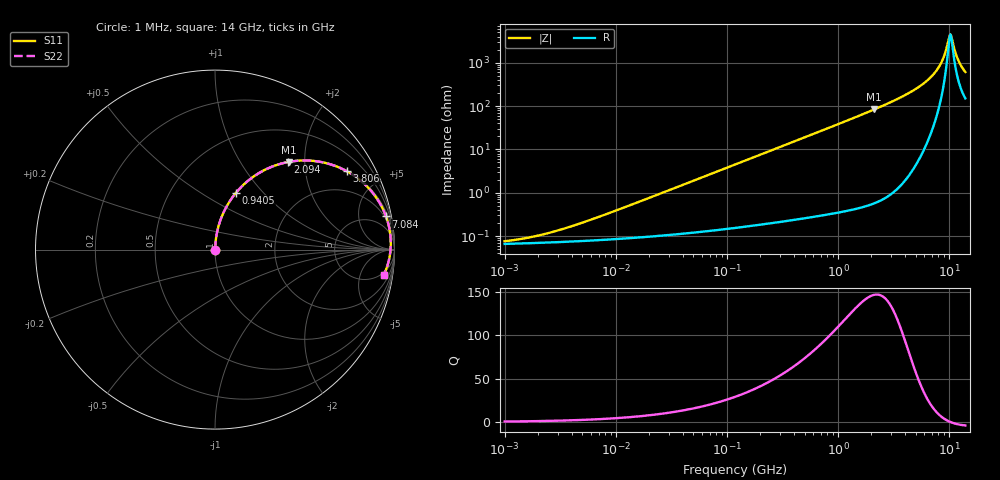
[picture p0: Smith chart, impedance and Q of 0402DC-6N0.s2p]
# MHz  S  MA  R  50
!Freq  MagS11  AngS11  MagS21  AngS21  MagS12  AngS12  MagS22  AngS22
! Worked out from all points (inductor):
!   801 points, 1 MHz to 14 GHz, reference 50 ohm
!   read as one part in series: L = 6 nH near 6.372 MHz
!   highest Q = 147 at 2.119 GHz (marker M1), where L = 6.27 nH
!   self-resonance near 10.26 GHz
!   S11 on the Smith chart (normalised r, x): 1 MHz: 1.00, +0.00; 940.5 MHz: 1.01, +0.72; 2.094 GHz: 1.01, +1.65; 3.806 GHz: 1.03, +3.33; 7.084 GHz: 2, +10; 14 GHz: 4, -12
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1  0.0007587 29.8  0.9993 -0.0  0.9993 -0.0  0.0007587 29.8
2.122819  0.001062 48.8  0.9993 -0.0  0.9993 -0.0  0.001062 48.8
4.958368  0.002019 67.6  0.9992 -0.1  0.9992 -0.1  0.002019 67.6
24.29341  0.009204 83.2  0.999 -0.5  0.999 -0.5  0.009204 83.2
119.025  0.04479 85.5  0.9975 -2.6  0.9975 -2.6  0.04479 85.5
583.1601  0.2148 76.9  0.974 -12.4  0.974 -12.4  0.2148 76.9
940.4844  0.3357 69.8  0.9388 -19.6  0.9388 -19.6  0.3357 69.8
1411.825  0.4754 61.2  0.8761 -28.4  0.8761 -28.4  0.4754 61.2
2094.214  0.6338 50.3  0.7692 -39.3  0.7692 -39.3  0.6338 50.3
2119.386  0.6387 49.9  0.7651 -39.7  0.7651 -39.7  0.6387 49.9
2857.179  0.7569 40.4  0.6481 -49.2  0.6481 -49.2  0.7569 40.4
3806.061  0.8535 30.9  0.5129 -58.6  0.5129 -58.6  0.8535 30.9
5446.89  0.9375 19.1  0.3279 -69.6  0.3279 -69.6  0.9375 19.1
7084.492  0.9706 11.0  0.1906 -75.7  0.1906 -75.7  0.9706 11.0
8576.977  0.9801 5.3  0.09316 -75.0  0.09316 -75.0  0.9801 5.3
9104.995  0.9806 3.5  0.06387 -70.6  0.06387 -70.6  0.9806 3.5
9899.275  0.9794 1.1  0.02801 -42.1  0.02801 -42.1  0.9794 1.1
10260.55  0.9782 0.1  0.02187 -3.0  0.02187 -3.0  0.9782 0.1
10635.01  0.9765 -1.0  0.02873 34.7  0.02873 34.7  0.9765 -1.0
11425.43  0.972 -3.0  0.05877 60.0  0.05877 60.0  0.972 -3.0
12128.81  0.9669 -4.7  0.08706 65.3  0.08706 65.3  0.9669 -4.7
14000  0.9499 -8.7  0.1563 67.0  0.1563 67.0  0.9499 -8.7
